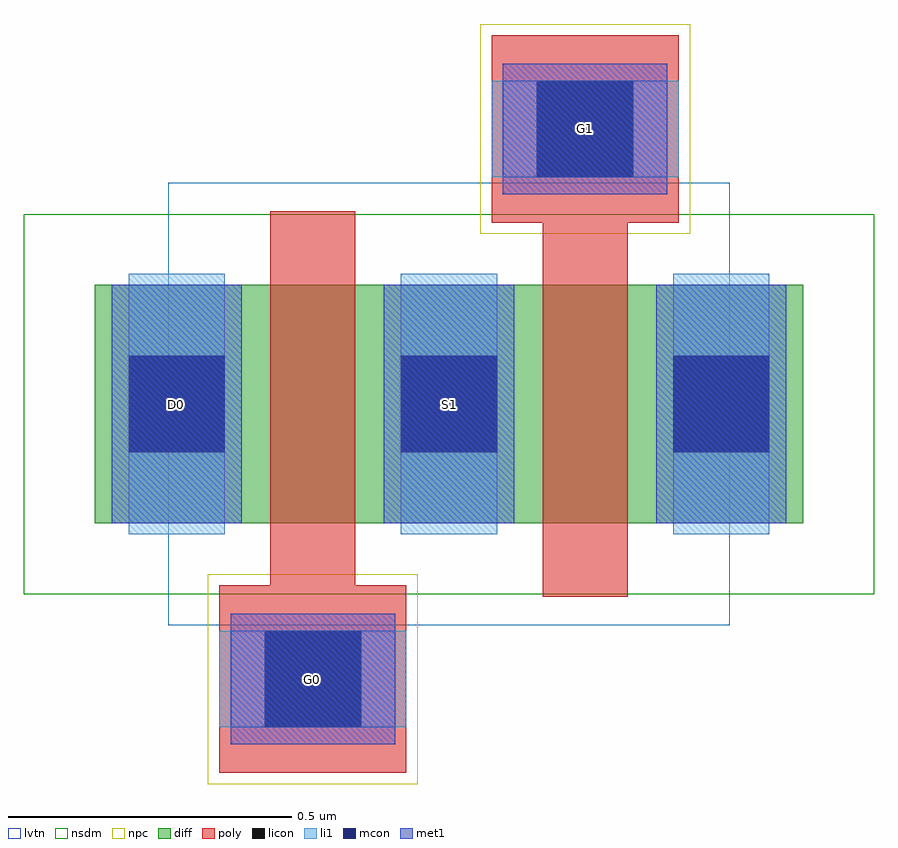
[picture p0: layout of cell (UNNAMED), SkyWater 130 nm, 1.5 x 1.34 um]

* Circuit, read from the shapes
.subckt (UNNAMED) D0 G0 G1 S1
XM1 S1 G0 D0 VSUBS sky130_fd_pr__nfet_01v8_lvt w=0.42 l=0.15
XM2 n1 G1 S1 VSUBS sky130_fd_pr__nfet_01v8_lvt w=0.42 l=0.15
.ends

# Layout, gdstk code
import gdstk
lib = gdstk.Library(unit=1e-6, precision=1e-09)
def R(c, l, rs):  # rectangles x0, y0, x1, y1
    for r in rs: c.add(gdstk.rectangle(r[:2], r[2:], *l))
def A(c, l, x, y, w, h, nx, ny, dx, dy):  # array of equal rectangles
    R(c, l, [(x+i*dx, y+j*dy, x+i*dx+w, y+j*dy+h) for i in range(nx) for j in range(ny)])
diff = (65, 20)
poly = (66, 20)
licon = (66, 44)
li1 = (67, 20)
mcon = (67, 44)
met1 = (68, 20)
nsdm = (93, 44)
npc = (95, 20)
lvtn = (125, 44)

c__unnamed_ = lib.new_cell('(UNNAMED)')
R(c__unnamed_, diff, [(-0.625,-0.21,0.625,0.21)])
R(c__unnamed_, poly, [(-0.405,-0.65,-0.075,-0.32), (0.165,-0.34,0.315,0.32), (-0.315,-0.32,-0.165,0.34), (0.075,0.32,0.405,0.65)])
A(c__unnamed_, licon, -0.565, -0.085, 0.17, 0.17, 3, 1, 0.48, 0)
R(c__unnamed_, licon, [(-0.325,-0.57,-0.155,-0.4), (0.155,0.4,0.325,0.57)])
A(c__unnamed_, li1, -0.565, -0.23, 0.17, 0.46, 3, 1, 0.48, 0)
R(c__unnamed_, li1, [(-0.405,-0.57,-0.075,-0.4), (0.075,0.4,0.405,0.57)])
A(c__unnamed_, mcon, -0.565, -0.085, 0.17, 0.17, 3, 1, 0.48, 0)
R(c__unnamed_, mcon, [(-0.325,-0.57,-0.155,-0.4), (0.155,0.4,0.325,0.57)])
A(c__unnamed_, met1, -0.595, -0.21, 0.23, 0.42, 3, 1, 0.48, 0)
R(c__unnamed_, met1, [(-0.385,-0.6,-0.095,-0.37), (0.095,0.37,0.385,0.6)])
R(c__unnamed_, nsdm, [(-0.75,-0.335,0.75,0.335)])
R(c__unnamed_, npc, [(-0.425,-0.67,-0.055,-0.3), (0.055,0.3,0.425,0.67)])
R(c__unnamed_, lvtn, [(-0.495,-0.39,0.495,0.39)])
c__unnamed_.add(gdstk.Label('D0', (-0.48,0), layer=67, texttype=5))
c__unnamed_.add(gdstk.Label('G0', (-0.24,-0.485), layer=67, texttype=5))
c__unnamed_.add(gdstk.Label('S1', (0,0), layer=67, texttype=5))
c__unnamed_.add(gdstk.Label('G1', (0.24,0.485), layer=67, texttype=5))

lib.write_gds('_UNNAMED_.gds')
